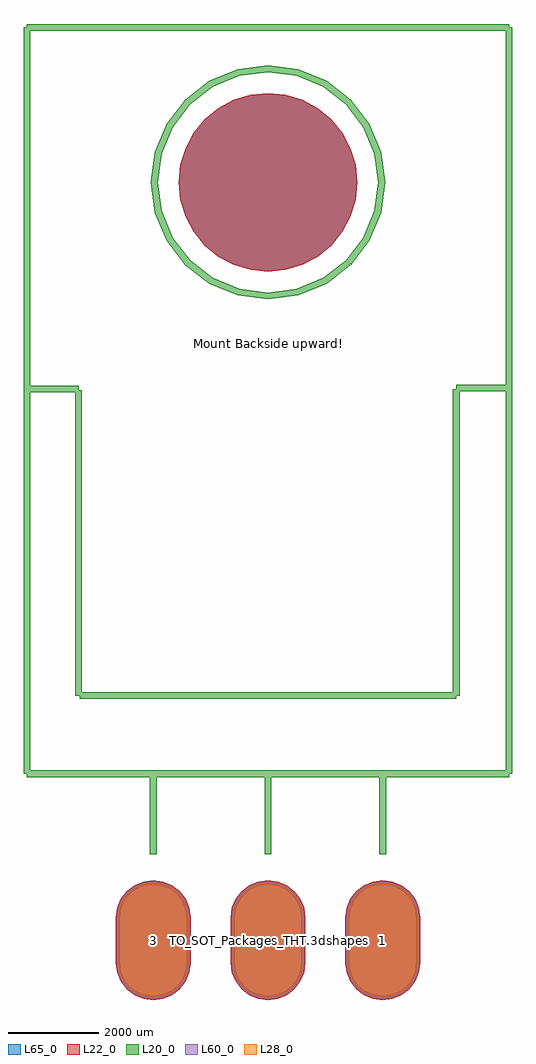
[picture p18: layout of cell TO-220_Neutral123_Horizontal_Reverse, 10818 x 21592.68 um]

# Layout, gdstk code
import gdstk
lib = gdstk.Library(unit=1e-6, precision=1e-09)
def P(c, l, *ps):  # polygons
    for p in ps: c.add(gdstk.Polygon(p, *l))
L20_0 = (20, 0)
L22_0 = (22, 0)
L28_0 = (28, 0)
L60_0 = (60, 0)
L65_0 = (65, 0)

to_220_neutral123_horizo = lib.new_cell('TO-220_Neutral123_Horizontal_Reverse')
P(to_220_neutral123_horizo, L22_0, [(1974.92,16764),(1936.972,17149.288),(1824.588,17519.769),(1642.086,17861.207),(1396.479,18160.479),(1097.207,18406.086),(755.769,18588.588),(385.288,18700.972),(0,18738.92),(-385.288,18700.972),(-755.769,18588.588),(-1097.207,18406.086),(-1396.479,18160.479),(-1642.086,17861.207),(-1824.588,17519.769),(-1936.972,17149.288),(-1974.92,16764),(-1936.972,16378.712),(-1824.588,16008.231),(-1642.086,15666.793),(-1396.479,15367.521),(-1097.207,15121.914),(-755.769,14939.412),(-385.288,14827.028),(0,14789.08),(385.288,14827.028),(755.769,14939.412),(1097.207,15121.914),(1396.479,15367.521),(1642.086,15666.793),(1824.588,16008.231),(1936.972,16378.712)],
  [(2540,-1324.68),(2753.673,-1296.549),(2952.785,-1214.075),(3123.766,-1082.876),(3254.965,-911.895),(3337.439,-712.783),(3365.57,-499.11),(3365.57,499.11),(3337.439,712.783),(3254.965,911.895),(3123.766,1082.876),(2952.785,1214.075),(2753.673,1296.549),(2540,1324.68),(2326.327,1296.549),(2127.215,1214.075),(1956.234,1082.876),(1825.035,911.895),(1742.561,712.783),(1714.43,499.11),(1714.43,-499.11),(1742.561,-712.783),(1825.035,-911.895),(1956.234,-1082.876),(2127.215,-1214.075),(2326.327,-1296.549)],
  [(-2540,-1324.68),(-2326.327,-1296.549),(-2127.215,-1214.075),(-1956.234,-1082.876),(-1825.035,-911.895),(-1742.561,-712.783),(-1714.43,-499.11),(-1714.43,499.11),(-1742.561,712.783),(-1825.035,911.895),(-1956.234,1082.876),(-2127.215,1214.075),(-2326.327,1296.549),(-2540,1324.68),(-2753.673,1296.549),(-2952.785,1214.075),(-3123.766,1082.876),(-3254.965,911.895),(-3337.439,712.783),(-3365.57,499.11),(-3365.57,-499.11),(-3337.439,-712.783),(-3254.965,-911.895),(-3123.766,-1082.876),(-2952.785,-1214.075),(-2753.673,-1296.549)],
  [(0,-1324.68),(213.673,-1296.549),(412.785,-1214.075),(583.766,-1082.876),(714.965,-911.895),(797.439,-712.783),(825.57,-499.11),(825.57,499.11),(797.439,712.783),(714.965,911.895),(583.766,1082.876),(412.785,1214.075),(213.673,1296.549),(0,1324.68),(-213.673,1296.549),(-412.785,1214.075),(-583.766,1082.876),(-714.965,911.895),(-797.439,712.783),(-825.57,499.11),(-825.57,-499.11),(-797.439,-712.783),(-714.965,-911.895),(-583.766,-1082.876),(-412.785,-1214.075),(-213.673,-1296.549)])
P(to_220_neutral123_horizo, L28_0, [(2540,-1249.68),(2734.262,-1224.105),(2915.285,-1149.123),(3070.733,-1029.843),(3190.013,-874.395),(3264.995,-693.372),(3290.57,-499.11),(3290.57,499.11),(3264.995,693.372),(3190.013,874.395),(3070.733,1029.843),(2915.285,1149.123),(2734.262,1224.105),(2540,1249.68),(2345.738,1224.105),(2164.715,1149.123),(2009.267,1029.843),(1889.987,874.395),(1815.005,693.372),(1789.43,499.11),(1789.43,-499.11),(1815.005,-693.372),(1889.987,-874.395),(2009.267,-1029.843),(2164.715,-1149.123),(2345.738,-1224.105)],
  [(-2540,-1249.68),(-2345.738,-1224.105),(-2164.715,-1149.123),(-2009.267,-1029.843),(-1889.987,-874.395),(-1815.005,-693.372),(-1789.43,-499.11),(-1789.43,499.11),(-1815.005,693.372),(-1889.987,874.395),(-2009.267,1029.843),(-2164.715,1149.123),(-2345.738,1224.105),(-2540,1249.68),(-2734.262,1224.105),(-2915.285,1149.123),(-3070.733,1029.843),(-3190.013,874.395),(-3264.995,693.372),(-3290.57,499.11),(-3290.57,-499.11),(-3264.995,-693.372),(-3190.013,-874.395),(-3070.733,-1029.843),(-2915.285,-1149.123),(-2734.262,-1224.105)],
  [(0,-1249.68),(194.262,-1224.105),(375.285,-1149.123),(530.733,-1029.843),(650.013,-874.395),(724.995,-693.372),(750.57,-499.11),(750.57,499.11),(724.995,693.372),(650.013,874.395),(530.733,1029.843),(375.285,1149.123),(194.262,1224.105),(0,1249.68),(-194.262,1224.105),(-375.285,1149.123),(-530.733,1029.843),(-650.013,874.395),(-724.995,693.372),(-750.57,499.11),(-750.57,-499.11),(-724.995,-693.372),(-650.013,-874.395),(-530.733,-1029.843),(-375.285,-1149.123),(-194.262,-1224.105)])
P(to_220_neutral123_horizo, L60_0, [(2540,-1249.68),(2734.262,-1224.105),(2915.285,-1149.123),(3070.733,-1029.843),(3190.013,-874.395),(3264.995,-693.372),(3290.57,-499.11),(3290.57,499.11),(3264.995,693.372),(3190.013,874.395),(3070.733,1029.843),(2915.285,1149.123),(2734.262,1224.105),(2540,1249.68),(2345.738,1224.105),(2164.715,1149.123),(2009.267,1029.843),(1889.987,874.395),(1815.005,693.372),(1789.43,499.11),(1789.43,-499.11),(1815.005,-693.372),(1889.987,-874.395),(2009.267,-1029.843),(2164.715,-1149.123),(2345.738,-1224.105)],
  [(-2540,-1249.68),(-2345.738,-1224.105),(-2164.715,-1149.123),(-2009.267,-1029.843),(-1889.987,-874.395),(-1815.005,-693.372),(-1789.43,-499.11),(-1789.43,499.11),(-1815.005,693.372),(-1889.987,874.395),(-2009.267,1029.843),(-2164.715,1149.123),(-2345.738,1224.105),(-2540,1249.68),(-2734.262,1224.105),(-2915.285,1149.123),(-3070.733,1029.843),(-3190.013,874.395),(-3264.995,693.372),(-3290.57,499.11),(-3290.57,-499.11),(-3264.995,-693.372),(-3190.013,-874.395),(-3070.733,-1029.843),(-2915.285,-1149.123),(-2734.262,-1224.105)],
  [(0,-1249.68),(194.262,-1224.105),(375.285,-1149.123),(530.733,-1029.843),(650.013,-874.395),(724.995,-693.372),(750.57,-499.11),(750.57,499.11),(724.995,693.372),(650.013,874.395),(530.733,1029.843),(375.285,1149.123),(194.262,1224.105),(0,1249.68),(-194.262,1224.105),(-375.285,1149.123),(-530.733,1029.843),(-650.013,874.395),(-724.995,693.372),(-750.57,499.11),(-750.57,-499.11),(-724.995,-693.372),(-650.013,-874.395),(-530.733,-1029.843),(-375.285,-1149.123),(-194.262,-1224.105)])
P(to_220_neutral123_horizo, L65_0, [(1974.92,16764),(1936.972,17149.288),(1824.588,17519.769),(1642.086,17861.207),(1396.479,18160.479),(1097.207,18406.086),(755.769,18588.588),(385.288,18700.972),(0,18738.92),(-385.288,18700.972),(-755.769,18588.588),(-1097.207,18406.086),(-1396.479,18160.479),(-1642.086,17861.207),(-1824.588,17519.769),(-1936.972,17149.288),(-1974.92,16764),(-1936.972,16378.712),(-1824.588,16008.231),(-1642.086,15666.793),(-1396.479,15367.521),(-1097.207,15121.914),(-755.769,14939.412),(-385.288,14827.028),(0,14789.08),(385.288,14827.028),(755.769,14939.412),(1097.207,15121.914),(1396.479,15367.521),(1642.086,15666.793),(1824.588,16008.231),(1936.972,16378.712)],
  [(2540,-1324.68),(2753.673,-1296.549),(2952.785,-1214.075),(3123.766,-1082.876),(3254.965,-911.895),(3337.439,-712.783),(3365.57,-499.11),(3365.57,499.11),(3337.439,712.783),(3254.965,911.895),(3123.766,1082.876),(2952.785,1214.075),(2753.673,1296.549),(2540,1324.68),(2326.327,1296.549),(2127.215,1214.075),(1956.234,1082.876),(1825.035,911.895),(1742.561,712.783),(1714.43,499.11),(1714.43,-499.11),(1742.561,-712.783),(1825.035,-911.895),(1956.234,-1082.876),(2127.215,-1214.075),(2326.327,-1296.549)],
  [(-2540,-1324.68),(-2326.327,-1296.549),(-2127.215,-1214.075),(-1956.234,-1082.876),(-1825.035,-911.895),(-1742.561,-712.783),(-1714.43,-499.11),(-1714.43,499.11),(-1742.561,712.783),(-1825.035,911.895),(-1956.234,1082.876),(-2127.215,1214.075),(-2326.327,1296.549),(-2540,1324.68),(-2753.673,1296.549),(-2952.785,1214.075),(-3123.766,1082.876),(-3254.965,911.895),(-3337.439,712.783),(-3365.57,499.11),(-3365.57,-499.11),(-3337.439,-712.783),(-3254.965,-911.895),(-3123.766,-1082.876),(-2952.785,-1214.075),(-2753.673,-1296.549)],
  [(0,-1324.68),(213.673,-1296.549),(412.785,-1214.075),(583.766,-1082.876),(714.965,-911.895),(797.439,-712.783),(825.57,-499.11),(825.57,499.11),(797.439,712.783),(714.965,911.895),(583.766,1082.876),(412.785,1214.075),(213.673,1296.549),(0,1324.68),(-213.673,1296.549),(-412.785,1214.075),(-583.766,1082.876),(-714.965,911.895),(-797.439,712.783),(-825.57,499.11),(-825.57,-499.11),(-797.439,-712.783),(-714.965,-911.895),(-583.766,-1082.876),(-412.785,-1214.075),(-213.673,-1296.549)])
to_220_neutral123_horizo.add(gdstk.FlexPath([(0,3683),(5334,3683)], 149.998, ends="flush", simple_path=True, layer=20, datatype=0))  # L20_0
to_220_neutral123_horizo.add(gdstk.FlexPath([(0,3683),(-5334,3683)], 149.998, ends="flush", simple_path=True, layer=20, datatype=0))  # L20_0
to_220_neutral123_horizo.add(gdstk.FlexPath([(-5334,12192),(-5334,3683)], 149.998, ends="flush", simple_path=True, layer=20, datatype=0))  # L20_0
to_220_neutral123_horizo.add(gdstk.FlexPath([(5334,3683),(5334,12192)], 149.998, ends="flush", simple_path=True, layer=20, datatype=0))  # L20_0
to_220_neutral123_horizo.add(gdstk.FlexPath([(-5334,20193),(-5334,12192)], 149.998, ends="flush", simple_path=True, layer=20, datatype=0))  # L20_0
to_220_neutral123_horizo.add(gdstk.FlexPath([(5334,20193),(-5334,20193)], 149.998, ends="flush", simple_path=True, layer=20, datatype=0))  # L20_0
to_220_neutral123_horizo.add(gdstk.FlexPath([(5334,12192),(5334,20193)], 149.998, ends="flush", simple_path=True, layer=20, datatype=0))  # L20_0
to_220_neutral123_horizo.add(gdstk.FlexPath([(2540,3683),(2540,1905)], 149.998, ends="flush", simple_path=True, layer=20, datatype=0))  # L20_0
to_220_neutral123_horizo.add(gdstk.FlexPath([(0,3683),(0,1905)], 149.998, ends="flush", simple_path=True, layer=20, datatype=0))  # L20_0
to_220_neutral123_horizo.add(gdstk.FlexPath([(-2540,3683),(-2540,1905)], 149.998, ends="flush", simple_path=True, layer=20, datatype=0))  # L20_0
to_220_neutral123_horizo.add(gdstk.FlexPath([(1778,14986),(2177.596,15506.764),(2428.793,16113.207),(2514.472,16764),(2428.793,17414.793),(2177.596,18021.236),(1778,18542),(1257.236,18941.596),(650.793,19192.793),(0,19278.472),(-650.793,19192.793),(-1257.236,18941.596),(-1778,18542),(-2177.596,18021.236),(-2428.793,17414.793),(-2514.472,16764),(-2428.793,16113.207),(-2177.596,15506.764),(-1778,14986),(-1257.236,14586.404),(-650.793,14335.207),(0,14249.528),(650.793,14335.207),(1257.236,14586.404),(1778,14986)], 149.998, ends="flush", simple_path=True, layer=20, datatype=0))  # L20_0
to_220_neutral123_horizo.add(gdstk.FlexPath([(4165.6,5410.2),(-4165.6,5410.2)], 149.998, ends="flush", simple_path=True, layer=20, datatype=0))  # L20_0
to_220_neutral123_horizo.add(gdstk.FlexPath([(4165.6,12192),(4165.6,5410.2)], 149.998, ends="flush", simple_path=True, layer=20, datatype=0))  # L20_0
to_220_neutral123_horizo.add(gdstk.FlexPath([(-4191,5410.2),(-4191,12166.6)], 149.998, ends="flush", simple_path=True, layer=20, datatype=0))  # L20_0
to_220_neutral123_horizo.add(gdstk.FlexPath([(-4191,12192),(-5334,12192)], 149.998, ends="flush", simple_path=True, layer=20, datatype=0))  # L20_0
to_220_neutral123_horizo.add(gdstk.FlexPath([(4165.6,12217.4),(5359.4,12217.4)], 149.998, ends="flush", simple_path=True, layer=20, datatype=0))  # L20_0
to_220_neutral123_horizo.add(gdstk.Label('TO_SOT_Packages_THT.3dshapes/TO-220_Neutral123_Horizontal_Reverse.wrl', (0,0), layer=12, texttype=0))
to_220_neutral123_horizo.add(gdstk.Label('1', (2540,0), layer=28, texttype=0))
to_220_neutral123_horizo.add(gdstk.Label('3', (-2540,0), layer=28, texttype=0))
to_220_neutral123_horizo.add(gdstk.Label('2', (0,0), layer=28, texttype=0))
to_220_neutral123_horizo.add(gdstk.Label('Mount Backside upward!', (0,13208), layer=9, texttype=0))
to_220_neutral123_horizo.add(gdstk.Label('type', (1270,-3810), layer=9, texttype=0))
to_220_neutral123_horizo.add(gdstk.Label('devicename', (0,22301.2), layer=9, texttype=0))

lib.write_gds('TO-220_Neutral123_Horizontal_Reverse.gds')
